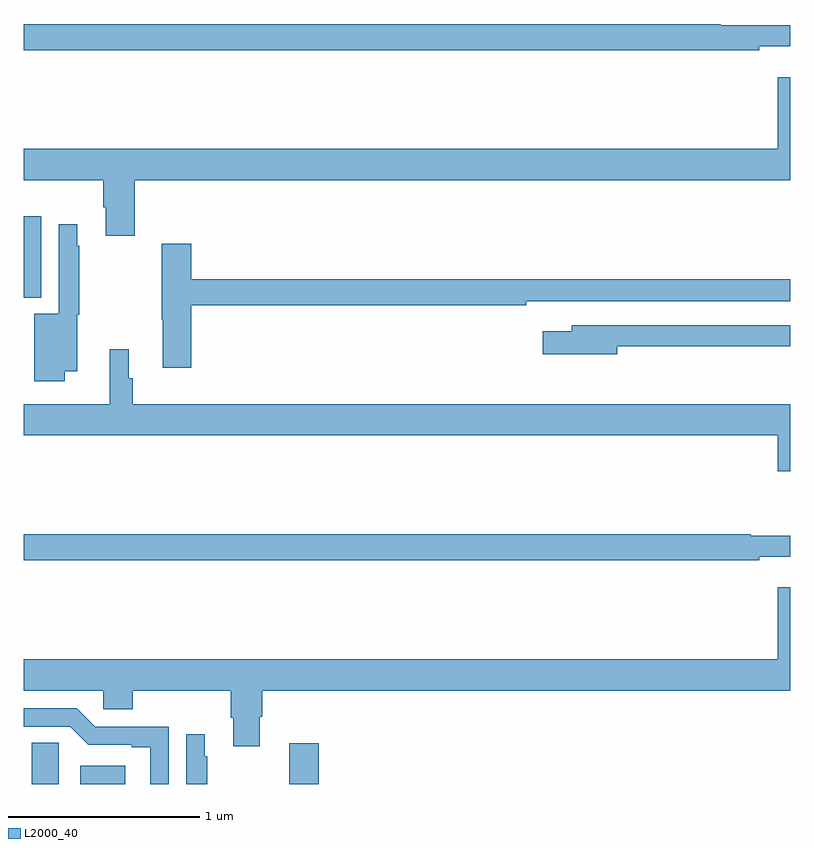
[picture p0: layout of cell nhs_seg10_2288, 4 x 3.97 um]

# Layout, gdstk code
import gdstk
lib = gdstk.Library(unit=1e-6, precision=1e-09)
def R(c, l, rs):  # rectangles x0, y0, x1, y1
    for r in rs: c.add(gdstk.rectangle(r[:2], r[2:], *l))
def P(c, l, *ps):  # polygons
    for p in ps: c.add(gdstk.Polygon(p, *l))
L2000_40 = (2000, 40)

nhs_seg10_2288 = lib.new_cell('nhs_seg10_2288')
R(nhs_seg10_2288, L2000_40, [(233.294,1294.5,233.53,1294.594), (234.385,1294.5,234.539,1294.714), (233,1297.04,233.091,1297.464)])
P(nhs_seg10_2288, L2000_40, [(236.84,1298.351),(237,1298.351),(237,1298.461),(236.638,1298.461),(236.638,1298.468),(233,1298.468),(233,1298.332),(236.84,1298.332)],
  [(233.579,1297.652),(237,1297.652),(237,1298.191),(236.936,1298.191),(236.936,1297.816),(233,1297.816),(233,1297.652),(233.414,1297.652),(233.414,1297.51),(233.426,1297.51),(233.426,1297.362),(233.579,1297.362)],
  [(233.212,1296.656),(233.278,1296.656),(233.278,1296.951),(233.29,1296.951),(233.29,1297.31),(233.278,1297.31),(233.278,1297.423),(233.181,1297.423),(233.181,1296.955),(233.054,1296.955),(233.054,1296.603),(233.212,1296.603)],
  [(233.873,1297),(235.622,1297),(235.622,1297.02),(237,1297.02),(237,1297.136),(233.873,1297.136),(233.873,1297.321),(233.719,1297.321),(233.719,1296.923),(233.726,1296.923),(233.726,1296.672),(233.873,1296.672)],
  [(236.098,1296.786),(237,1296.786),(237,1296.894),(235.859,1296.894),(235.859,1296.865),(235.71,1296.865),(235.71,1296.743),(236.098,1296.743)],
  [(237,1296.484),(233.567,1296.484),(233.567,1296.618),(233.548,1296.618),(233.548,1296.769),(233.449,1296.769),(233.449,1296.484),(233,1296.484),(233,1296.32),(236.936,1296.32),(236.936,1296.132),(237,1296.132)],
  [(236.84,1295.687),(237,1295.687),(237,1295.797),(236.794,1295.797),(236.794,1295.804),(233,1295.804),(233,1295.668),(236.84,1295.668)],
  [(234.232,1294.851),(234.245,1294.851),(234.245,1294.988),(237,1294.988),(237,1295.527),(236.936,1295.527),(236.936,1295.152),(233,1295.152),(233,1294.988),(233.415,1294.988),(233.415,1294.89),(233.567,1294.89),(233.567,1294.988),(234.08,1294.988),(234.08,1294.846),(234.092,1294.846),(234.092,1294.698),(234.232,1294.698)],
  [(233.757,1294.8),(233.373,1294.8),(233.277,1294.896),(233,1294.896),(233,1294.8),(233.241,1294.8),(233.337,1294.704),(233.564,1294.704),(233.564,1294.692),(233.66,1294.692),(233.66,1294.5),(233.757,1294.5)],
  [(233.956,1294.646),(233.944,1294.646),(233.944,1294.759),(233.847,1294.759),(233.847,1294.5),(233.956,1294.5)],
  [(233.182,1294.604),(233.181,1294.604),(233.181,1294.715),(233.042,1294.715),(233.042,1294.5),(233.182,1294.5)])

lib.write_gds('nhs_seg10_2288.gds')
